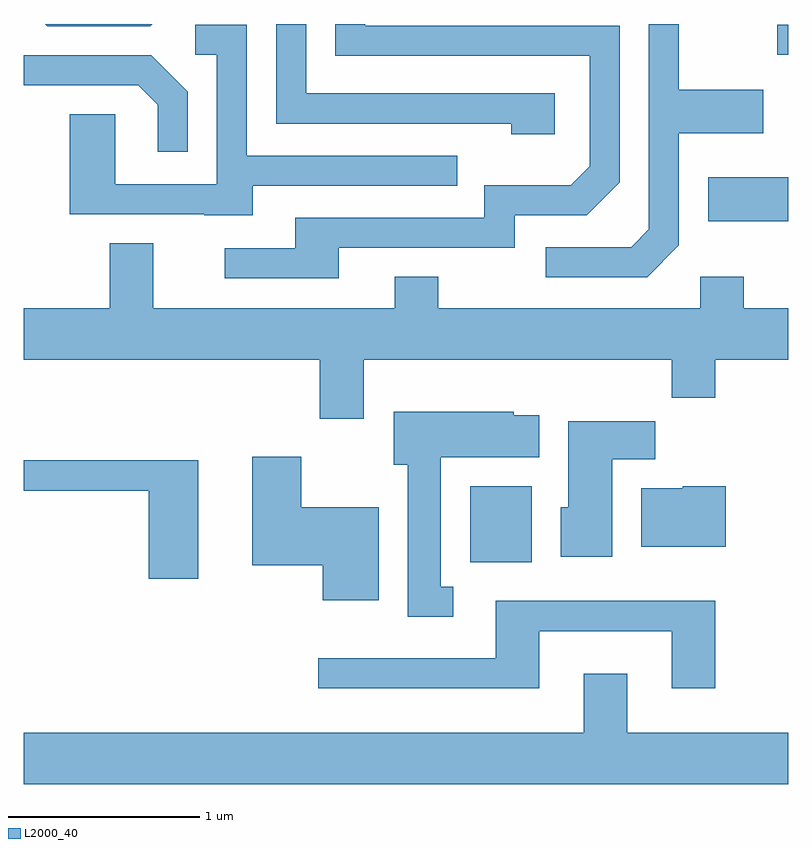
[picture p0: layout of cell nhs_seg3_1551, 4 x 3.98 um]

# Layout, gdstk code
import gdstk
lib = gdstk.Library(unit=1e-6, precision=1e-09)
def R(c, l, rs):  # rectangles x0, y0, x1, y1
    for r in rs: c.add(gdstk.rectangle(r[:2], r[2:], *l))
def P(c, l, *ps):  # polygons
    for p in ps: c.add(gdstk.Polygon(p, *l))
L2000_40 = (2000, 40)

nhs_seg3_1551 = lib.new_cell('nhs_seg3_1551')
R(nhs_seg3_1551, L2000_40, [(231.946,1227.076,232.269,1227.474), (233.191,1228.861,233.611,1229.089), (233.553,1229.731,233.611,1229.889)])
P(nhs_seg3_1551, L2000_40, [(233.039,1228.734),(233.039,1229.321),(233.479,1229.321),(233.479,1229.549),(233.039,1229.549),(233.039,1229.892),(232.881,1229.892),(232.881,1228.817),(232.789,1228.724),(232.343,1228.724),(232.343,1228.566),(232.872,1228.566)],
  [(230.283,1229.892),(229.723,1229.892),(229.734,1229.881),(230.272,1229.881)],
  [(232.389,1229.529),(231.089,1229.529),(231.089,1229.892),(230.931,1229.892),(230.931,1229.371),(232.161,1229.371),(232.161,1229.316),(232.389,1229.316)],
  [(231.259,1228.721),(232.179,1228.721),(232.179,1228.891),(232.557,1228.891),(232.729,1229.064),(232.729,1229.884),(231.399,1229.884),(231.399,1229.892),(231.241,1229.892),(231.241,1229.726),(232.571,1229.726),(232.571,1229.147),(232.474,1229.049),(232.021,1229.049),(232.021,1228.879),(231.031,1228.879),(231.031,1228.719),(230.663,1228.719),(230.663,1228.561),(231.259,1228.561)],
  [(230.809,1229.046),(231.878,1229.046),(231.878,1229.204),(230.779,1229.204),(230.779,1229.889),(230.508,1229.889),(230.508,1229.731),(230.621,1229.731),(230.621,1229.054),(230.089,1229.054),(230.089,1229.419),(229.851,1229.419),(229.851,1228.896),(230.555,1228.896),(230.555,1228.891),(230.809,1228.891)],
  [(230.469,1229.537),(230.277,1229.729),(229.611,1229.729),(229.611,1229.571),(230.209,1229.571),(230.311,1229.469),(230.311,1229.223),(230.469,1229.223)],
  [(230.061,1228.744),(230.061,1228.404),(229.611,1228.404),(229.611,1228.136),(231.161,1228.136),(231.161,1227.826),(231.389,1227.826),(231.389,1228.136),(233.001,1228.136),(233.001,1227.936),(233.229,1227.936),(233.229,1228.136),(233.611,1228.136),(233.611,1228.404),(233.379,1228.404),(233.379,1228.569),(233.151,1228.569),(233.151,1228.404),(231.779,1228.404),(231.779,1228.569),(231.551,1228.569),(231.551,1228.404),(230.289,1228.404),(230.289,1228.744)],
  [(231.858,1226.949),(231.794,1226.949),(231.794,1227.626),(232.309,1227.626),(232.309,1227.844),(232.174,1227.844),(232.174,1227.864),(231.546,1227.864),(231.546,1227.586),(231.621,1227.586),(231.621,1226.791),(231.858,1226.791)],
  [(232.689,1227.616),(232.914,1227.616),(232.914,1227.814),(232.461,1227.814),(232.461,1227.364),(232.421,1227.364),(232.421,1227.106),(232.689,1227.106)],
  [(231.469,1227.364),(231.064,1227.364),(231.064,1227.629),(230.806,1227.629),(230.806,1227.061),(231.176,1227.061),(231.176,1226.876),(231.469,1226.876)],
  [(230.524,1227.609),(229.611,1227.609),(229.611,1227.451),(230.266,1227.451),(230.266,1226.991),(230.524,1226.991)],
  [(233.284,1227.474),(233.06,1227.474),(233.06,1227.464),(232.841,1227.464),(232.841,1227.156),(233.284,1227.156)],
  [(232.309,1226.716),(233.001,1226.716),(233.001,1226.416),(233.229,1226.416),(233.229,1226.874),(232.081,1226.874),(232.081,1226.574),(231.153,1226.574),(231.153,1226.416),(232.309,1226.416)],
  [(233.611,1226.184),(232.769,1226.184),(232.769,1226.494),(232.541,1226.494),(232.541,1226.184),(229.611,1226.184),(229.611,1225.916),(233.611,1225.916)])

lib.write_gds('nhs_seg3_1551.gds')
